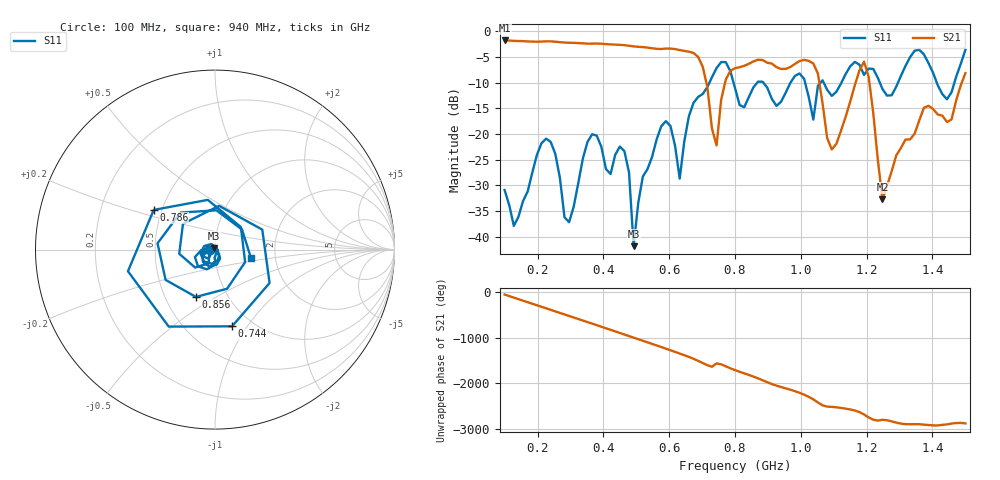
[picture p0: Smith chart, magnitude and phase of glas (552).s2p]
! NanoVNA-App
! Date: 2025-09-25 15:59:46
! Start: 100MHz Stop: 1,5GHz Points: 101
! S-Parameter data: F S11 S21 S12 S22
# Hz S RI R 50
!  Frequency  S11_Real  S11_Imag  S21_Real  S21_Imag  S12_Real  S12_Imag  S22_Real  S22_Imag
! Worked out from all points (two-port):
!   101 points, 100 MHz to 1.5 GHz, reference 50 ohm
!   highest |S21| = -1.80 dB at 100 MHz (marker M1); lowest = -32.8 dB at 1.248 GHz (marker M2)
!   |S21| within 3 dB of the highest: start of sweep to 684.3 MHz
!   lowest |S11| = -41.9 dB at 492 MHz (marker M3), VSWR 1.02, Z = 49.5 + j0.629 ohm
!   |S11| at or under -10 dB: start of sweep to 722.4 MHz; 795.4 MHz to 867.7 MHz (72.26 MHz wide, 8.69 % of centre); 885.9 MHz to 968.8 MHz (82.84 MHz wide, 8.93 % of centre)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
!   S12 and S22 are empty: the file has one direction only
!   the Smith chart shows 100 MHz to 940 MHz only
!   S11 on the Smith chart (normalised r, x): 100 MHz: 0.95, -0.01; 744 MHz: 0.81, -0.85; 786 MHz: 0.45, +0.24; 856 MHz: 0.71, -0.41; 940 MHz: 1.49, -0.15
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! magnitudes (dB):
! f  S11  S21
! 100 MHz  -30.9  -1.8
! 128 MHz  -37.9  -1.9
! 226 MHz  -20.9  -2.0
! 296 MHz  -37.2  -2.2
! 338 MHz  -24.7  -2.4
! 464 MHz  -23.4  -2.7
! 492 MHz  -41.9  -3.0
! 576 MHz  -18.5  -3.5
! 632 MHz  -28.7  -3.7
! 702 MHz  -12.2  -6.9
! 744 MHz  -7.2  -22.2
! 786 MHz  -7.8  -7.7
! 800 MHz  -11.1  -7.2
! 856 MHz  -10.9  -5.9
! 940 MHz  -13.7  -7.4
! 996 MHz  -8.2  -5.8
! 1.038 GHz  -17.2  -6.3
! 1.094 GHz  -12.6  -23.0
! 1.192 GHz  -8.5  -5.9
! 1.248 GHz  -11.3  -32.8
! 1.276 GHz  -12.5  -27.3
! 1.5 GHz  -3.6  -8.2
